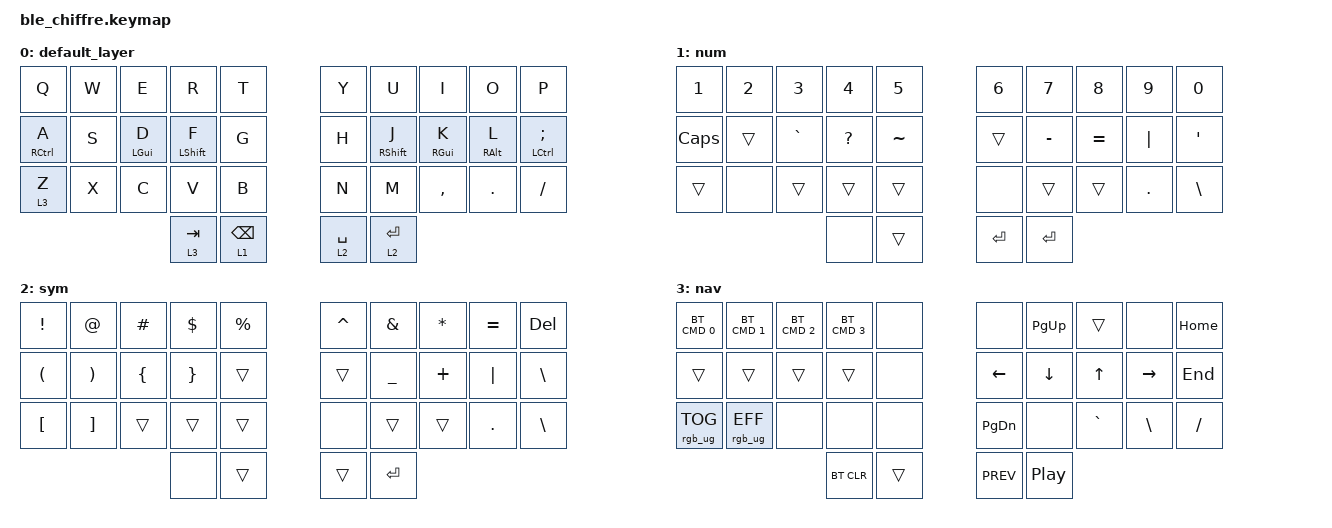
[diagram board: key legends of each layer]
/*
 * Copyright (c) 2020 The ZMK Contributors
 *
 * SPDX-License-Identifier: MIT
 */

#include <behaviors.dtsi>
#include <dt-bindings/zmk/keys.h>
#include <dt-bindings/zmk/bt.h>
#include <dt-bindings/zmk/rgb.h>

#define DEFAULT 0
#define NUM 1
#define SYM 2
#define NAV 3

/ {
	behaviors {
		rst: boot_reset 
		{
			compatible = "zmk,behavior-hold-tap";
			label = "Bootloader Tap - Reset Hold";
			#binding-cells = <2>;
			tapping_term_ms = <200>;
            flavor = "balanced";
			bindings = <&reset>, <&bootloader>;
        };

        bh: layer_taps 
		{
			compatible = "zmk,behavior-hold-tap";
			label = "Layer-Tap";
			#binding-cells = <2>;
			tapping_term_ms = <215>;
            flavor = "tap-preferred";
			bindings = <&mo>, <&kp>;
        };

        hm: homerow_mods0 
		{
			compatible = "zmk,behavior-hold-tap";
			label = "homerow mods";
			#binding-cells = <2>;
			tapping_term_ms = <230>;
            flavor = "tap-preferred";
			bindings = <&kp>, <&kp>;
        };
        
        hm1: homerow_mods1 
		{
			compatible = "zmk,behavior-hold-tap";
			label = "homerow mods";
			#binding-cells = <2>;
			tapping_term_ms = <205>;
            flavor = "tap-preferred";
			bindings = <&kp>, <&kp>;
        };

        hm2: homerow_mods2 
		{
			compatible = "zmk,behavior-hold-tap";
			label = "homerow mods 2";
			#binding-cells = <2>;
			tapping_term_ms = <250>;
            flavor = "tap-preferred";
			bindings = <&kp>, <&kp>;
        };

        com_col: comma_semicolon
		{
		 	compatible = "zmk,behavior-hold-tap";
	     	label = "Tap comma_hold colon";
			#binding-cells = <2>;
			tapping_term_ms = <150>;
            flavor = "balanced";
		 	bindings = <&kp>, <&kp>;
	    };
   	 };
};


/ {
	combos {
		compatible = "zmk,combos";
		combo_backspce {
			timeout-ms = <50>;
			key-positions = <8 9>;
			bindings = <&kp BSPC>;
		};
		combo_gesc 
		{
			timeout-ms = <30>;
			key-positions = <1 2>;
			bindings = <&com_col GRAVE ESC>;
		};
		combo_tab 
		{
			timeout-ms = <35>;
			key-positions = <0 1>;
			bindings = <&kp TAB>;
		};
		combo_ent 
		{
			timeout-ms = <30>;
			key-positions = <28 29>;
			bindings = <&kp RET>;
		};
		combo_mprev 
		{
			timeout-ms = <30>;
			key-positions = <27 28>;
			bindings = <&kp C_PREV>;	
		};
		combo_mpp 
		{
			timeout-ms = <30>;
			key-positions = <27 29>;
			bindings = <&kp C_PP>;
		};
		combo_del 
		{
			timeout-ms = <40>;
			key-positions = <7 8 9>;
			bindings = <&kp DEL>;
		};
	};
};

/ {
    keymap 
	{
    compatible = "zmk,keymap";

    default_layer {
            bindings = <
    &kp Q &kp W &kp E &kp R &kp T &kp Y &kp U &kp I &kp O &kp P
    &hm RCTRL A &kp S &hm LGUI D &hm LSHFT F &kp G &kp H &hm RSHFT J &hm RGUI K &hm RALT L &hm LCTRL SEMI
    &bh 3 Z &kp X &kp C &kp V &kp B &kp N &kp M &kp COMMA &kp DOT &kp FSLH
    &bh 3 TAB &bh 1 BSPC &bh 2 SPACE &bh 2 RET
            >;
        };

    num {
            bindings = <
    &kp N1 &kp N2 &kp N3 &kp N4 &kp N5 &kp N6 &kp N7 &kp N8 &kp N9 &kp N0
    &kp CAPS &trans &kp GRAVE &kp QMARK &kp TILDE &trans &kp MINUS &kp EQUAL &kp PIPE &kp SQT
    &trans &none &trans &trans &trans &none &trans &trans &kp DOT &kp BSLH
    &none &trans &kp RET &kp RET
            >;
        };

	sym {
            bindings = <
    &kp EXCL &kp AT &kp POUND &kp DLLR &kp PRCNT &kp CARET &kp AMPS &kp STAR &kp EQUAL &kp DEL
    &kp LPAR &kp RPAR &kp LBRC &kp RBRC &trans &trans &kp UNDER &kp PLUS &kp PIPE &kp BSLH
    &kp LBKT &kp RBKT &trans &trans &trans &none &trans &trans &kp DOT &kp BSLH
    &none &trans &trans &kp RET
            >;
        };

    nav {
            bindings = <
    &bt BT_SEL_CMD 0 &bt BT_SEL_CMD 1 &bt BT_SEL_CMD 2 &bt BT_SEL_CMD 3 &none &none &kp PG_UP &trans &none &kp HOME
    &trans &trans &trans &trans &none &kp LEFT &kp DOWN &kp UP &kp RIGHT &kp END
    &rgb_ug RGB_TOG &rgb_ug RGB_EFF &none &none &none &kp PG_DN &none &kp GRAVE &kp BSLH &kp FSLH
    &bt BT_CLR &trans &kp C_PREV &kp C_PP
            >;
        };
    };
};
